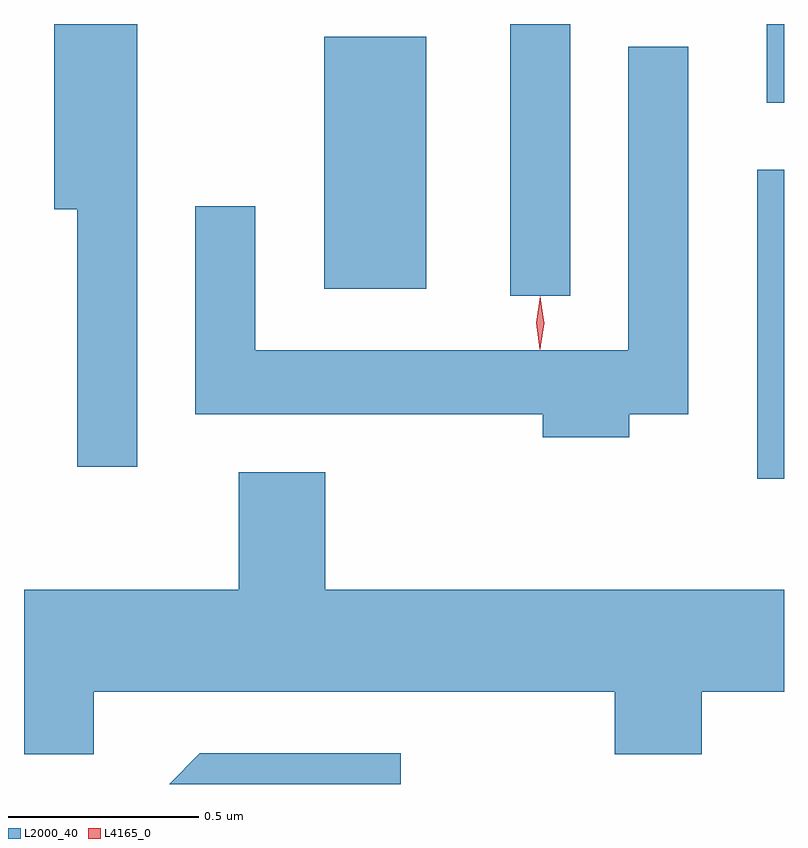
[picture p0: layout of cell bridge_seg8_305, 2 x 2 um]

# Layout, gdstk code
import gdstk
lib = gdstk.Library(unit=1e-6, precision=1e-09)
def R(c, l, rs):  # rectangles x0, y0, x1, y1
    for r in rs: c.add(gdstk.rectangle(r[:2], r[2:], *l))
def P(c, l, *ps):  # polygons
    for p in ps: c.add(gdstk.Polygon(p, *l))
L2000_40 = (2000, 40)
L4165_0 = (4165, 0)

bridge_seg8_305 = lib.new_cell('bridge_seg8_305')
R(bridge_seg8_305, L2000_40, [(1406.696,1814.776,1406.766,1815.589), (1406.046,1815.258,1406.204,1815.973), (1405.556,1815.276,1405.824,1815.939), (1406.721,1815.766,1406.766,1815.973)])
P(bridge_seg8_305, L2000_40, [(1405.064,1815.973),(1404.846,1815.973),(1404.846,1815.486),(1404.906,1815.486),(1404.906,1814.808),(1405.064,1814.808)],
  [(1406.359,1814.946),(1406.514,1814.946),(1406.514,1815.913),(1406.356,1815.913),(1406.356,1815.114),(1405.374,1815.114),(1405.374,1815.493),(1405.216,1815.493),(1405.216,1814.946),(1406.131,1814.946),(1406.131,1814.886),(1406.359,1814.886)],
  [(1404.949,1814.216),(1406.321,1814.216),(1406.321,1814.051),(1406.549,1814.051),(1406.549,1814.216),(1406.766,1814.216),(1406.766,1814.484),(1405.559,1814.484),(1405.559,1814.794),(1405.331,1814.794),(1405.331,1814.484),(1404.766,1814.484),(1404.766,1814.051),(1404.949,1814.051)],
  [(1405.758,1814.054),(1405.229,1814.054),(1405.148,1813.973),(1405.758,1813.973)])
P(bridge_seg8_305, L4165_0, [(1406.123,1815.117),(1406.114,1815.187),(1406.124,1815.256),(1406.124,1815.256),(1406.125,1815.256),(1406.134,1815.186),(1406.124,1815.117),(1406.124,1815.117)],
  [(1406.125,1815.119),(1406.124,1815.12),(1406.115,1815.186),(1406.124,1815.252),(1406.125,1815.253),(1406.125,1815.252),(1406.135,1815.186),(1406.125,1815.12)])

lib.write_gds('bridge_seg8_305.gds')
